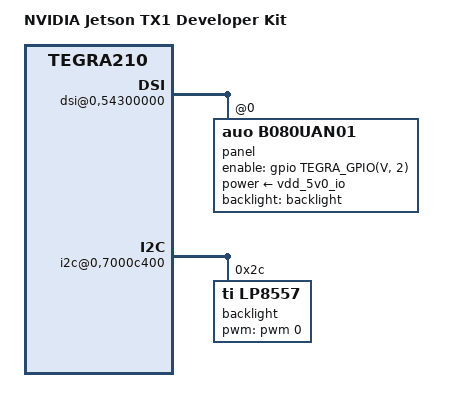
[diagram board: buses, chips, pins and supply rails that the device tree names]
/dts-v1/;

#include "tegra210-p2180.dtsi"
#include "tegra210-p2597.dtsi"

/ {
	model = "NVIDIA Jetson TX1 Developer Kit";
	compatible = "nvidia,p2371-2180", "nvidia,tegra210";

	host1x@0,50000000 {
		dsi@0,54300000 {
			status = "okay";

			avdd-dsi-csi-supply = <&vdd_dsi_csi>;

			panel@0 {
				compatible = "auo,b080uan01";
				reg = <0>;

				enable-gpios = <&gpio TEGRA_GPIO(V, 2)
						GPIO_ACTIVE_HIGH>;
				power-supply = <&vdd_5v0_io>;
				backlight = <&backlight>;
			};
		};
	};

	gpu@0,57000000 {
		vdd-supply = <&vdd_gpu>;
		status = "okay";
	};

	i2c@0,7000c400 {
		backlight: backlight@2c {
			compatible = "ti,lp8557";
			reg = <0x2c>;

			dev-ctrl = /bits/ 8 <0x80>;
			init-brt = /bits/ 8 <0xff>;

			pwm-period = <29334>;

			pwms = <&pwm 0 29334>;
			pwm-names = "lp8557";

			/* 3 LED string */
			rom_14h {
				rom-addr = /bits/ 8 <0x14>;
				rom-val = /bits/ 8 <0x87>;
			};

			/* boost frequency 1 MHz */
			rom_13h {
				rom-addr = /bits/ 8 <0x13>;
				rom-val = /bits/ 8 <0x01>;
			};
		};
	};

	regulators {
		vdd_gpu: regulator@100 {
			compatible = "regulator-pwm";
			reg = <100>;
			pwms = <&pwm 1 4880>;
			regulator-name = "VDD_GPU";
			regulator-min-microvolt = <710000>;
			regulator-max-microvolt = <1320000>;
			regulator-init-microvolt = <1000000>;
			regulator-n-voltages = <62>;
			regulator-enable-ramp-delay = <1000>;
			enable-gpio = <&pmic 6 GPIO_ACTIVE_HIGH>;
			voltage-time-sel = <80>;
			regulator-always-on;
		};
	};
};
